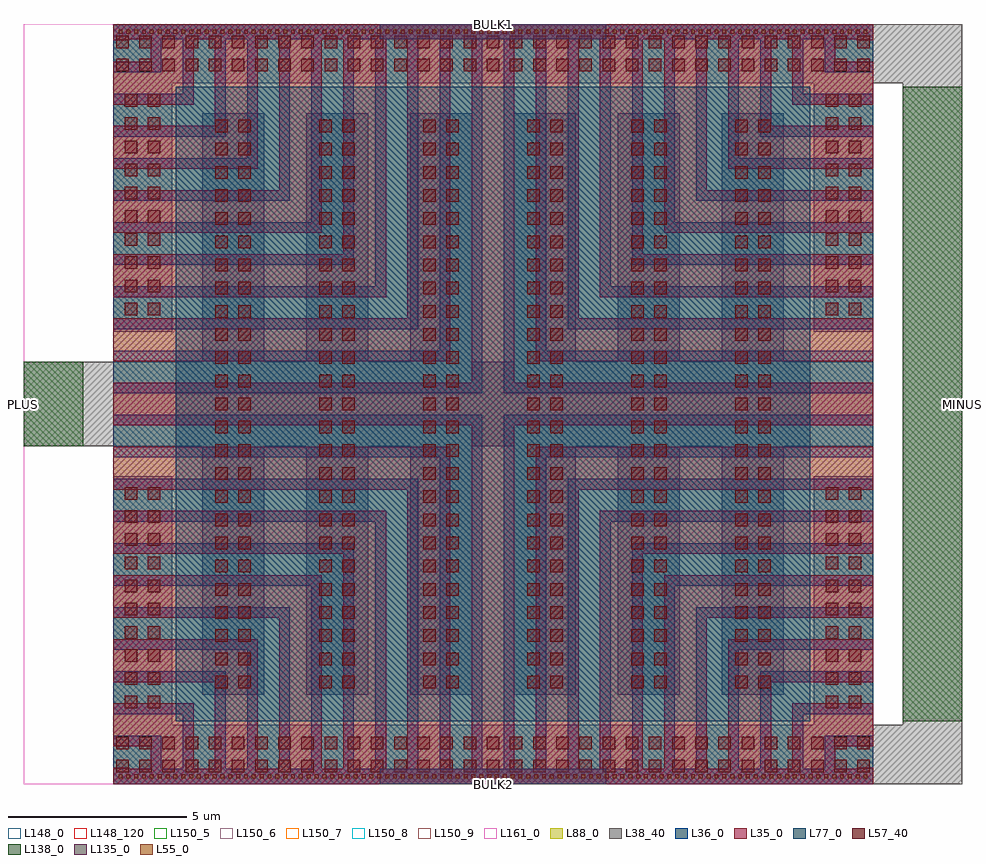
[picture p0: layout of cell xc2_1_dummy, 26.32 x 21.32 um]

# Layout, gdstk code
import gdstk
lib = gdstk.Library(unit=1e-6, precision=1e-09)
def R(c, l, rs):  # rectangles x0, y0, x1, y1
    for r in rs: c.add(gdstk.rectangle(r[:2], r[2:], *l))
def A(c, l, x, y, w, h, nx, ny, dx, dy):  # array of equal rectangles
    R(c, l, [(x+i*dx, y+j*dy, x+i*dx+w, y+j*dy+h) for i in range(nx) for j in range(ny)])
def P(c, l, *ps):  # polygons
    for p in ps: c.add(gdstk.Polygon(p, *l))
L35_0 = (35, 0)
L36_0 = (36, 0)
L38_40 = (38, 40)
L55_0 = (55, 0)
L57_40 = (57, 40)
L77_0 = (77, 0)
L88_0 = (88, 0)
L135_0 = (135, 0)
L138_0 = (138, 0)
L148_0 = (148, 0)
L148_120 = (148, 120)
L150_5 = (150, 5)
L150_6 = (150, 6)
L150_7 = (150, 7)
L150_8 = (150, 8)
L150_9 = (150, 9)
L161_0 = (161, 0)

xc2_1_dummy = lib.new_cell('xc2_1_dummy')
R(xc2_1_dummy, L35_0, [(-1.76,-1.76,-1.3,-1.3), (-1.76,-1.76,19.56,-1.33), (-0.7,-1.76,0.5,-0.1), (1.1,-1.76,2.3,1.7), (2.9,-1.76,4.1,3.5), (4.7,-1.76,5.9,5.3), (6.5,-1.76,7.7,7.1), (8.3,-1.76,9.5,19.56), (10.1,-1.76,11.3,7.1), (11.9,-1.76,13.1,5.3), (13.7,-1.76,14.9,3.5), (15.5,-1.76,16.7,1.7), (17.3,-1.76,18.5,-0.1), (19.1,-1.76,19.56,-1.3), (-1.76,-0.7,0.5,0.5), (17.3,-0.7,19.56,0.5), (-1.76,1.1,2.3,2.3), (15.5,1.1,19.56,2.3), (-1.76,2.9,4.1,4.1), (13.7,2.9,19.56,4.1), (-1.76,4.7,5.9,5.9), (11.9,4.7,19.56,5.9), (-1.76,6.5,7.7,7.7), (10.1,6.5,19.56,7.7), (-1.76,8.3,19.56,9.5), (-1.76,10.1,7.7,11.3), (10.1,10.1,19.56,11.3), (6.5,10.7,7.7,19.56), (10.1,10.7,11.3,19.56), (-1.76,11.9,5.9,13.1), (11.9,11.9,19.56,13.1), (4.7,12.5,5.9,19.56), (11.9,12.5,13.1,19.56), (-1.76,13.7,4.1,14.9), (13.7,13.7,19.56,14.9), (2.9,14.3,4.1,19.56), (13.7,14.3,14.9,19.56), (-1.76,15.5,2.3,16.7), (15.5,15.5,19.56,16.7), (1.1,16.1,2.3,19.56), (15.5,16.1,16.7,19.56), (-1.76,17.3,0.5,18.5), (17.3,17.3,19.56,18.5), (-0.7,17.9,0.5,19.56), (17.3,17.9,18.5,19.56), (-1.76,19.1,-1.3,19.56), (19.1,19.1,19.56,19.56), (-1.76,19.13,19.56,19.56)])
R(xc2_1_dummy, L36_0, [(-1.76,-1.76,19.56,-1.33), (-1.6,-1.76,-0.4,-1), (0.2,-1.76,1.4,0.8), (2,-1.76,3.2,2.6), (3.8,-1.76,5,4.4), (5.6,-1.76,6.8,6.2), (7.4,-1.76,8.6,8), (9.2,-1.76,10.4,8), (11,-1.76,12.2,6.2), (12.8,-1.76,14,4.4), (14.6,-1.76,15.8,2.6), (16.4,-1.76,17.6,0.8), (18.2,-1.76,19.4,-1), (-1.76,-1.6,-0.4,-0.4), (18.2,-1.6,19.56,-0.4), (-1.76,0.2,1.4,1.4), (16.4,0.2,19.56,1.4), (-1.76,2,3.2,3.2), (14.6,2,19.56,3.2), (-1.76,3.8,5,5), (12.8,3.8,19.56,5), (-1.76,5.6,6.8,6.8), (11,5.6,19.56,6.8), (-1.76,7.4,8.6,8.6), (9.2,7.4,19.56,8.6), (-1.76,9.2,8.6,10.4), (9.2,9.2,19.56,10.4), (7.4,9.8,8.6,19.56), (9.2,9.8,10.4,19.56), (-1.76,11,6.8,12.2), (11,11,19.56,12.2), (5.6,11.6,6.8,19.56), (11,11.6,12.2,19.56), (-1.76,12.8,5,14), (12.8,12.8,19.56,14), (3.8,13.4,5,19.56), (12.8,13.4,14,19.56), (-1.76,14.6,3.2,15.8), (14.6,14.6,19.56,15.8), (2,15.2,3.2,19.56), (14.6,15.2,15.8,19.56), (-1.76,16.4,1.4,17.6), (16.4,16.4,19.56,17.6), (0.2,17,1.4,19.56), (16.4,17,17.6,19.56), (-1.76,18.2,-0.4,19.4), (18.2,18.2,19.56,19.4), (-1.6,18.8,-0.4,19.56), (18.2,18.8,19.4,19.56), (-1.76,19.13,19.56,19.56)])
A(xc2_1_dummy, L38_40, 0.74, 0.74, 1.74, 6.98, 6, 1, 2.916, 0)
R(xc2_1_dummy, L38_40, [(19.56,-1.76,22.06,-0.1), (20.4,-1.76,22.06,19.56), (-4.26,7.72,19.56,10.08), (0.74,10.08,2.48,17.06), (0.74,10.08,2.48,17.06), (3.656,10.08,5.396,17.06), (3.656,10.08,5.396,17.06), (6.572,10.08,8.312,17.06), (6.572,10.08,8.312,17.06), (9.488,10.08,11.228,17.06), (9.488,10.08,11.228,17.06), (12.404,10.08,14.144,17.06), (12.404,10.08,14.144,17.06), (15.32,10.08,17.06,17.06), (15.32,10.08,17.06,17.06), (19.56,17.9,22.06,19.56)])
P(xc2_1_dummy, L38_40, [(-0.1,17.9),(17.9,17.9),(17.9,10.92),(19.56,10.92),(19.56,19.56),(-1.76,19.56),(-1.76,10.92),(-0.1,10.92)],
  [(-1.76,6.88),(-1.76,-1.76),(19.56,-1.76),(19.56,6.88),(17.9,6.88),(17.9,-0.1),(-0.1,-0.1),(-0.1,6.88)])
A(xc2_1_dummy, L55_0, -1.605, -1.6, 0.11, 0.11, 96, 2, 0.22, 20.89)
A(xc2_1_dummy, L57_40, -1.675, -1.43, 0.35, 0.35, 33, 2, 0.65, 0.65)
A(xc2_1_dummy, L57_40, -1.43, 0.37, 0.35, 0.35, 1, 10, 0, 0.65)
A(xc2_1_dummy, L57_40, -0.78, 0.37, 0.35, 0.35, 1, 10, 0, 0.65)
A(xc2_1_dummy, L57_40, 18.23, 0.37, 0.35, 0.35, 1, 10, 0, 0.65)
A(xc2_1_dummy, L57_40, 18.88, 0.37, 0.35, 0.35, 1, 10, 0, 0.65)
A(xc2_1_dummy, L57_40, 1.11, 0.925, 0.35, 0.35, 1, 25, 0, 0.65)
A(xc2_1_dummy, L57_40, 1.76, 0.925, 0.35, 0.35, 1, 25, 0, 0.65)
A(xc2_1_dummy, L57_40, 4.026, 0.925, 0.35, 0.35, 1, 25, 0, 0.65)
A(xc2_1_dummy, L57_40, 4.676, 0.925, 0.35, 0.35, 1, 25, 0, 0.65)
A(xc2_1_dummy, L57_40, 6.942, 0.925, 0.35, 0.35, 1, 25, 0, 0.65)
A(xc2_1_dummy, L57_40, 7.592, 0.925, 0.35, 0.35, 1, 25, 0, 0.65)
A(xc2_1_dummy, L57_40, 9.858, 0.925, 0.35, 0.35, 1, 25, 0, 0.65)
A(xc2_1_dummy, L57_40, 10.508, 0.925, 0.35, 0.35, 1, 25, 0, 0.65)
A(xc2_1_dummy, L57_40, 12.774, 0.925, 0.35, 0.35, 1, 25, 0, 0.65)
A(xc2_1_dummy, L57_40, 13.424, 0.925, 0.35, 0.35, 1, 25, 0, 0.65)
A(xc2_1_dummy, L57_40, 15.69, 0.925, 0.35, 0.35, 1, 25, 0, 0.65)
A(xc2_1_dummy, L57_40, 16.34, 0.925, 0.35, 0.35, 1, 25, 0, 0.65)
A(xc2_1_dummy, L57_40, -1.43, 11.39, 0.35, 0.35, 1, 10, 0, 0.65)
A(xc2_1_dummy, L57_40, -0.78, 11.39, 0.35, 0.35, 1, 10, 0, 0.65)
A(xc2_1_dummy, L57_40, 18.23, 11.39, 0.35, 0.35, 1, 10, 0, 0.65)
A(xc2_1_dummy, L57_40, 18.88, 11.39, 0.35, 0.35, 1, 10, 0, 0.65)
A(xc2_1_dummy, L57_40, -1.675, 18.23, 0.35, 0.35, 33, 2, 0.65, 0.65)
R(xc2_1_dummy, L77_0, [(0,0,17.8,17.8)])
R(xc2_1_dummy, L88_0, [(-1.76,-1.76,19.56,19.56)])
R(xc2_1_dummy, L135_0, [(5.718,-1.76,12.082,-1.33), (5.718,19.13,12.082,19.56)])
R(xc2_1_dummy, L138_0, [(20.4,0,22.06,17.8), (-4.26,7.72,-2.6,10.08)])
R(xc2_1_dummy, L148_0, [(-4.26,-1.76,22.06,19.56)])
R(xc2_1_dummy, L148_120, [(-4.26,-1.76,22.06,19.56)])
R(xc2_1_dummy, L150_5, [(-4.26,-1.76,22.06,19.56)])
R(xc2_1_dummy, L150_6, [(-4.26,-1.76,22.06,19.56)])
R(xc2_1_dummy, L150_7, [(-4.26,-1.76,22.06,19.56)])
R(xc2_1_dummy, L150_8, [(-4.26,-1.76,22.06,19.56)])
R(xc2_1_dummy, L150_9, [(-4.26,-1.76,22.06,19.56)])
R(xc2_1_dummy, L161_0, [(-4.26,-1.76,22.06,19.56)])
xc2_1_dummy.add(gdstk.Label('BULK1', (8.9,19.56), layer=135, texttype=0))
xc2_1_dummy.add(gdstk.Label('BULK2', (8.9,-1.76), layer=135, texttype=0))
xc2_1_dummy.add(gdstk.Label('PLUS', (-4.26,8.9), layer=138, texttype=0))
xc2_1_dummy.add(gdstk.Label('MINUS', (22.06,8.9), layer=138, texttype=0))

lib.write_gds('xc2_1_dummy.gds')
